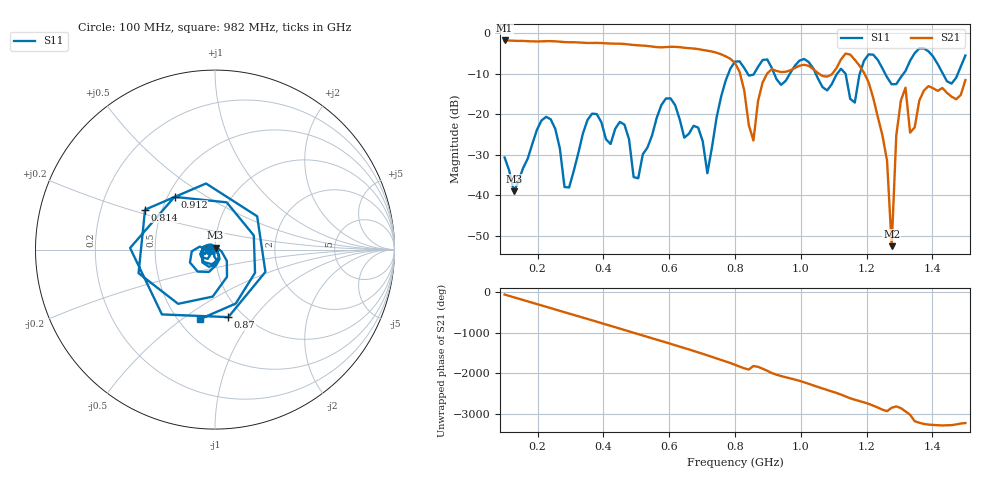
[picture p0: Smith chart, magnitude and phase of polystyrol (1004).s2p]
! NanoVNA-App
! Date: 2025-09-25 15:37:41
! Start: 100MHz Stop: 1,5GHz Points: 101
! S-Parameter data: F S11 S21 S12 S22
# Hz S RI R 50
!  Frequency  S11_Real  S11_Imag  S21_Real  S21_Imag  S12_Real  S12_Imag  S22_Real  S22_Imag
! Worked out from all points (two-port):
!   101 points, 100 MHz to 1.5 GHz, reference 50 ohm
!   highest |S21| = -1.80 dB at 100 MHz (marker M1); lowest = -52.6 dB at 1.276 GHz (marker M2)
!   |S21| within 3 dB of the highest: start of sweep to 743.1 MHz
!   lowest |S11| = -39.1 dB at 128 MHz (marker M3), VSWR 1.02, Z = 50.3 + j1.06 ohm
!   |S11| at or under -10 dB: start of sweep to 779.9 MHz; 1.045 GHz to 1.111 GHz (65.3 MHz wide, 6.06 % of centre); 1.136 GHz to 1.179 GHz (43.34 MHz wide, 3.74 % of centre) (the widest 3 of 7)
!   S12 and S22 are empty: the file has one direction only
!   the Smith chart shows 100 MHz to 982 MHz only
!   S11 on the Smith chart (normalised r, x): 100 MHz: 0.94, -0.01; 814 MHz: 0.40, +0.22; 870 MHz: 0.85, -0.75; 912 MHz: 0.54, +0.37; 982 MHz: 0.64, -0.58
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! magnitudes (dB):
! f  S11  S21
! 100 MHz  -30.7  -1.8
! 128 MHz  -39.1  -1.9
! 212 MHz  -21.6  -2.0
! 282 MHz  -38.0  -2.2
! 338 MHz  -24.8  -2.4
! 506 MHz  -35.8  -3.0
! 576 MHz  -17.8  -3.5
! 716 MHz  -34.6  -4.3
! 800 MHz  -7.0  -7.3
! 814 MHz  -7.0  -9.6
! 856 MHz  -10.3  -26.5
! 870 MHz  -8.3  -16.8
! 912 MHz  -8.6  -8.9
! 982 MHz  -8.0  -8.6
! 1.038 GHz  -8.7  -8.9
! 1.206 GHz  -5.2  -12.1
! 1.262 GHz  -10.9  -31.5
! 1.276 GHz  -12.6  -52.6
! 1.29 GHz  -12.6  -25.3
! 1.318 GHz  -9.3  -13.5
! 1.332 GHz  -6.8  -24.5
! 1.5 GHz  -5.5  -11.6
